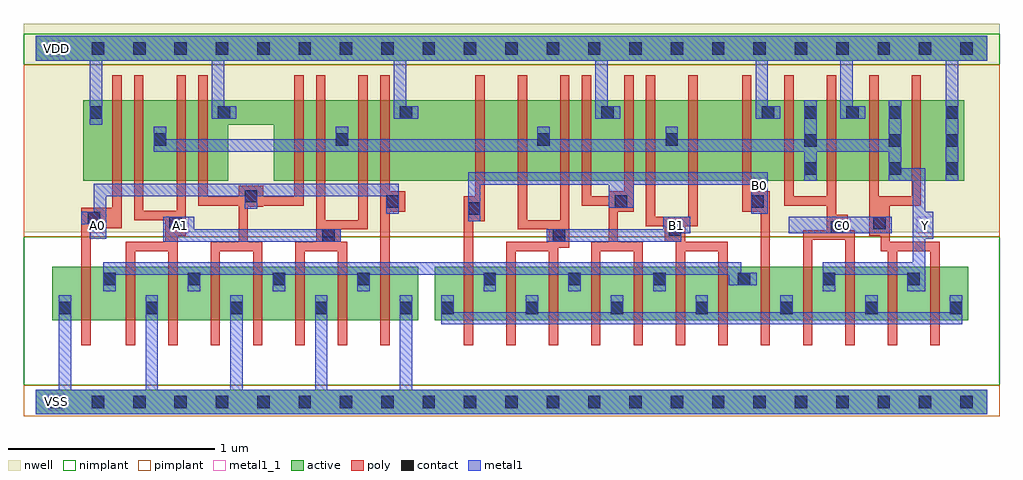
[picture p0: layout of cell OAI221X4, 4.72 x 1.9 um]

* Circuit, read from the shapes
.subckt OAI221X4 A0 A1 B0 B1 C0 VDD VSS Y
M1 n1 A0 VSS VSS nfet w=0.26u l=0.045u m=4
M2 VSS A1 n1 VSS nfet w=0.26u l=0.045u m=4
M3 n1 B0 n2 VSS nfet w=0.26u l=0.045u m=4
M4 n2 B1 n1 VSS nfet w=0.26u l=0.045u m=4
M5 Y C0 n2 VSS nfet w=0.26u l=0.045u m=4
M6 n3 A0 VDD VDD pfet w=0.39u l=0.045u
M7 Y A1 n3 VDD pfet w=0.39u l=0.045u
M8 n4 A1 Y VDD pfet w=0.39u l=0.045u
M9 VDD A0 n4 VDD pfet w=0.39u l=0.045u
M10 n5 A0 VDD VDD pfet w=0.39u l=0.045u
M11 Y A1 n5 VDD pfet w=0.39u l=0.045u
M12 n6 A1 Y VDD pfet w=0.39u l=0.045u
M13 VDD A0 n6 VDD pfet w=0.39u l=0.045u
M14 n7 B0 VDD VDD pfet w=0.39u l=0.045u
M15 Y B1 n7 VDD pfet w=0.39u l=0.045u
M16 n8 B1 Y VDD pfet w=0.39u l=0.045u
M17 VDD B0 n8 VDD pfet w=0.39u l=0.045u
M18 n9 B0 VDD VDD pfet w=0.39u l=0.045u
M19 Y B1 n9 VDD pfet w=0.39u l=0.045u
M20 n10 B1 Y VDD pfet w=0.39u l=0.045u
M21 VDD B0 n10 VDD pfet w=0.39u l=0.045u
M22 Y C0 VDD VDD pfet w=0.39u l=0.045u m=4
.ends

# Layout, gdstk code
import gdstk
lib = gdstk.Library(unit=1e-6, precision=5e-10)
def R(c, l, rs):  # rectangles x0, y0, x1, y1
    for r in rs: c.add(gdstk.rectangle(r[:2], r[2:], *l))
def A(c, l, x, y, w, h, nx, ny, dx, dy):  # array of equal rectangles
    R(c, l, [(x+i*dx, y+j*dy, x+i*dx+w, y+j*dy+h) for i in range(nx) for j in range(ny)])
def P(c, l, *ps):  # polygons
    for p in ps: c.add(gdstk.Polygon(p, *l))
active = (1, 0)
nwell = (2, 0)
poly = (3, 0)
nimplant = (4, 0)
pimplant = (5, 0)
contact = (6, 0)
metal1 = (7, 0)
metal1_1 = (7, 1)

oai221x4 = lib.new_cell('OAI221X4')
R(oai221x4, active, [(0,-0.06,4.6,0.06), (0.08,0.395,1.85,0.655), (1.93,0.395,4.51,0.655), (0,1.65,4.6,1.77)])
P(oai221x4, active, [(0.23,1.46),(4.49,1.46),(4.49,1.07),(1.15,1.07),(1.15,1.34),(0.93,1.34),(0.93,1.07),(0.23,1.07)])
R(oai221x4, nwell, [(-0.06,0.82,4.66,1.83)])
P(oai221x4, poly, [(0.37,1.58),(0.415,1.58),(0.415,0.84),(0.265,0.84),(0.265,0.275),(0.22,0.275),(0.22,0.94),(0.37,0.94)],
  [(0.475,1.58),(0.52,1.58),(0.52,0.925),(0.68,0.925),(0.68,1.58),(0.725,1.58),(0.725,0.805),(0.685,0.805),(0.685,0.275),(0.64,0.275),(0.64,0.73),(0.48,0.73),(0.48,0.275),(0.435,0.275),(0.435,0.775),(0.625,0.775),(0.625,0.88),(0.475,0.88)],
  [(0.785,1.58),(0.83,1.58),(0.83,0.995),(0.98,0.995),(0.98,1.045),(1.1,1.045),(1.1,0.995),(1.25,0.995),(1.25,1.58),(1.295,1.58),(1.295,0.95),(1.1,0.95),(1.1,0.945),(1.025,0.945),(1.025,0.775),(1.095,0.775),(1.095,0.275),(1.05,0.275),(1.05,0.73),(0.89,0.73),(0.89,0.275),(0.845,0.275),(0.845,0.775),(0.98,0.775),(0.98,0.95),(0.785,0.95)],
  [(1.355,1.58),(1.4,1.58),(1.4,0.88),(1.56,0.88),(1.56,1.58),(1.605,1.58),(1.605,0.835),(1.475,0.835),(1.475,0.775),(1.505,0.775),(1.505,0.275),(1.46,0.275),(1.46,0.73),(1.3,0.73),(1.3,0.275),(1.255,0.275),(1.255,0.775),(1.355,0.775)],
  [(1.665,1.58),(1.71,1.58),(1.71,1.02),(1.785,1.02),(1.785,0.92),(1.71,0.92),(1.71,0.275),(1.665,0.275)],
  [(2.125,1.58),(2.17,1.58),(2.17,0.875),(2.115,0.875),(2.115,0.275),(2.07,0.275),(2.07,0.995),(2.125,0.995)],
  [(2.33,1.58),(2.375,1.58),(2.375,0.88),(2.535,0.88),(2.535,1.58),(2.58,1.58),(2.58,0.745),(2.525,0.745),(2.525,0.275),(2.48,0.275),(2.48,0.73),(2.32,0.73),(2.32,0.275),(2.275,0.275),(2.275,0.775),(2.48,0.775),(2.48,0.835),(2.33,0.835)],
  [(2.64,1.58),(2.685,1.58),(2.685,0.995),(2.77,0.995),(2.77,1.02),(2.845,1.02),(2.845,1.58),(2.89,1.58),(2.89,0.92),(2.815,0.92),(2.815,0.775),(2.935,0.775),(2.935,0.275),(2.89,0.275),(2.89,0.73),(2.73,0.73),(2.73,0.275),(2.685,0.275),(2.685,0.775),(2.77,0.775),(2.77,0.95),(2.64,0.95)],
  [(2.95,1.58),(2.995,1.58),(2.995,0.895),(3.155,0.895),(3.155,1.58),(3.2,1.58),(3.2,0.85),(3.14,0.85),(3.14,0.775),(3.345,0.775),(3.345,0.275),(3.3,0.275),(3.3,0.73),(3.14,0.73),(3.14,0.275),(3.095,0.275),(3.095,0.775),(3.04,0.775),(3.04,0.85),(2.95,0.85)],
  [(3.415,1.58),(3.46,1.58),(3.46,1.02),(3.55,1.02),(3.55,0.275),(3.505,0.275),(3.505,0.92),(3.415,0.92)],
  [(3.62,1.58),(3.665,1.58),(3.665,0.995),(3.825,0.995),(3.825,1.58),(3.87,1.58),(3.87,0.905),(3.925,0.905),(3.925,0.83),(3.96,0.83),(3.96,0.275),(3.915,0.275),(3.915,0.785),(3.755,0.785),(3.755,0.275),(3.71,0.275),(3.71,0.83),(3.825,0.83),(3.825,0.95),(3.62,0.95)],
  [(4.03,1.58),(4.075,1.58),(4.075,0.995),(4.235,0.995),(4.235,1.58),(4.28,1.58),(4.28,0.95),(4.13,0.95),(4.13,0.775),(4.37,0.775),(4.37,0.275),(4.325,0.275),(4.325,0.73),(4.165,0.73),(4.165,0.275),(4.12,0.275),(4.12,0.73),(4.085,0.73),(4.085,0.805),(4.03,0.805)])
R(oai221x4, nimplant, [(-0.06,0.08,4.66,0.8), (-0.06,1.63,4.66,1.78)])
R(oai221x4, pimplant, [(-0.06,-0.07,4.66,0.08), (-0.06,0.8,4.66,1.63)])
A(oai221x4, contact, 0.07, -0.03, 0.06, 0.06, 23, 2, 0.2, 1.71)
A(oai221x4, contact, 0.53, 0.425, 0.06, 0.06, 4, 1, 0.41, 0)
A(oai221x4, contact, 1.96, 0.425, 0.06, 0.06, 7, 1, 0.41, 0)
A(oai221x4, contact, 0.325, 0.565, 0.06, 0.06, 4, 1, 0.41, 0)
A(oai221x4, contact, 2.165, 0.565, 0.06, 0.06, 6, 1, 0.41, 0)
A(oai221x4, contact, 4.4, 1.1, 0.06, 0.06, 1, 3, 0, 0.135)
A(oai221x4, contact, 3.51, 1.37, 0.06, 0.06, 4, 1, 0.205, 0)
R(oai221x4, contact, [(0.11,0.425,0.17,0.485), (1.385,0.775,1.445,0.835), (2.5,0.775,2.56,0.835), (3.06,0.805,3.12,0.865), (3.845,0.815,3.905,0.875), (0.645,0.835,0.705,0.895), (4.05,0.835,4.11,0.895), (0.25,0.86,0.31,0.92), (2.09,0.905,2.15,0.965), (1.695,0.94,1.755,1), (2.8,0.94,2.86,1), (3.46,0.94,3.52,1), (1.01,0.965,1.07,1.025), (3.715,1.1,3.775,1.16), (4.125,1.1,4.185,1.16), (3.715,1.235,3.775,1.295), (4.125,1.235,4.185,1.295), (0.57,1.24,0.63,1.3), (1.45,1.24,1.51,1.3), (2.425,1.24,2.485,1.3), (3.045,1.24,3.105,1.3), (0.26,1.37,0.32,1.43), (0.88,1.37,0.94,1.43), (1.76,1.37,1.82,1.43), (2.735,1.37,2.795,1.43)])
R(oai221x4, metal1, [(3.64,0.815,4.14,0.895)])
P(oai221x4, metal1, [(0,1.77),(4.6,1.77),(4.6,1.65),(4.46,1.65),(4.46,1.07),(4.4,1.07),(4.4,1.65),(3.95,1.65),(3.95,1.43),(4.01,1.43),(4.01,1.37),(3.89,1.37),(3.89,1.65),(3.54,1.65),(3.54,1.43),(3.6,1.43),(3.6,1.37),(3.48,1.37),(3.48,1.65),(2.765,1.65),(2.765,1.43),(2.825,1.43),(2.825,1.37),(2.705,1.37),(2.705,1.65),(1.79,1.65),(1.79,1.43),(1.85,1.43),(1.85,1.37),(1.73,1.37),(1.73,1.65),(0.91,1.65),(0.91,1.43),(0.97,1.43),(0.97,1.37),(0.85,1.37),(0.85,1.65),(0.32,1.65),(0.32,1.34),(0.26,1.34),(0.26,1.65),(0,1.65)],
  [(0.57,1.33),(0.63,1.33),(0.63,1.27),(1.45,1.27),(1.45,1.33),(1.51,1.33),(1.51,1.27),(2.425,1.27),(2.425,1.33),(2.485,1.33),(2.485,1.27),(3.045,1.27),(3.045,1.33),(3.105,1.33),(3.105,1.27),(3.715,1.27),(3.715,1.46),(3.775,1.46),(3.775,1.27),(4.125,1.27),(4.125,1.46),(4.185,1.46),(4.185,1.13),(4.3,1.13),(4.3,0.92),(4.34,0.92),(4.34,0.79),(4.3,0.79),(4.3,0.535),(4.215,0.535),(4.215,0.615),(3.865,0.615),(3.865,0.535),(3.805,0.535),(3.805,0.675),(4.24,0.675),(4.24,1.07),(4.125,1.07),(4.125,1.21),(3.775,1.21),(3.775,1.07),(3.715,1.07),(3.715,1.21),(0.57,1.21)],
  [(0.28,1.055),(1.755,1.055),(1.755,0.91),(1.695,0.91),(1.695,0.995),(1.07,0.995),(1.07,0.935),(1.01,0.935),(1.01,0.995),(0.34,0.995),(0.34,0.79),(0.26,0.79),(0.26,0.86),(0.22,0.86),(0.22,0.92),(0.28,0.92)],
  [(0.615,0.895),(0.765,0.895),(0.765,0.835),(1.475,0.835),(1.475,0.775),(0.615,0.775)],
  [(2.09,1.11),(3.54,1.11),(3.54,0.91),(3.46,0.91),(3.46,1.05),(2.89,1.05),(2.89,0.94),(2.77,0.94),(2.77,1.05),(2.15,1.05),(2.15,0.875),(2.09,0.875)],
  [(3.035,0.895),(3.165,0.895),(3.165,0.815),(3.12,0.815),(3.12,0.775),(2.47,0.775),(2.47,0.835),(3.035,0.835)],
  [(0.325,0.675),(3.41,0.675),(3.41,0.625),(3.485,0.625),(3.485,0.565),(3.35,0.565),(3.35,0.615),(3.045,0.615),(3.045,0.535),(2.985,0.535),(2.985,0.615),(2.635,0.615),(2.635,0.535),(2.575,0.535),(2.575,0.615),(2.225,0.615),(2.225,0.535),(2.165,0.535),(2.165,0.615),(1.615,0.615),(1.615,0.535),(1.555,0.535),(1.555,0.615),(1.205,0.615),(1.205,0.535),(1.145,0.535),(1.145,0.615),(0.795,0.615),(0.795,0.535),(0.735,0.535),(0.735,0.615),(0.385,0.615),(0.385,0.535),(0.325,0.535)],
  [(0.11,0.515),(0.17,0.515),(0.17,0.06),(0.53,0.06),(0.53,0.515),(0.59,0.515),(0.59,0.06),(0.94,0.06),(0.94,0.515),(1,0.515),(1,0.06),(1.35,0.06),(1.35,0.515),(1.41,0.515),(1.41,0.06),(1.76,0.06),(1.76,0.515),(1.82,0.515),(1.82,0.06),(4.6,0.06),(4.6,-0.06),(0,-0.06),(0,0.06),(0.11,0.06)],
  [(1.96,0.515),(2.02,0.515),(2.02,0.435),(2.37,0.435),(2.37,0.515),(2.43,0.515),(2.43,0.435),(2.78,0.435),(2.78,0.515),(2.84,0.515),(2.84,0.435),(3.19,0.435),(3.19,0.515),(3.25,0.515),(3.25,0.435),(3.6,0.435),(3.6,0.515),(3.66,0.515),(3.66,0.435),(4.01,0.435),(4.01,0.515),(4.07,0.515),(4.07,0.435),(4.42,0.435),(4.42,0.515),(4.48,0.515),(4.48,0.375),(1.96,0.375)])
R(oai221x4, metal1_1, [(0.06,-0.04,0.14,0.04), (0.26,0.815,0.34,0.895), (0.66,0.815,0.74,0.895), (3.06,0.815,3.14,0.895), (3.86,0.815,3.94,0.895), (4.26,0.815,4.34,0.895), (3.46,1.005,3.54,1.085), (0.06,1.67,0.14,1.75)])
oai221x4.add(gdstk.Label('Y', (4.3,0.855), layer=7, texttype=1))
oai221x4.add(gdstk.Label('A0', (0.3,0.855), layer=7, texttype=1))
oai221x4.add(gdstk.Label('B0', (3.5,1.045), layer=7, texttype=1))
oai221x4.add(gdstk.Label('A1', (0.7,0.855), layer=7, texttype=1))
oai221x4.add(gdstk.Label('B1', (3.1,0.855), layer=7, texttype=1))
oai221x4.add(gdstk.Label('C0', (3.9,0.855), layer=7, texttype=1))
oai221x4.add(gdstk.Label('VDD', (0.1,1.71), layer=7, texttype=1))
oai221x4.add(gdstk.Label('VSS', (0.1,0), layer=7, texttype=1))
oai221x4.add(gdstk.Label('OAI221X4', (0,0), layer=63, texttype=0))

lib.write_gds('OAI221X4.gds')
